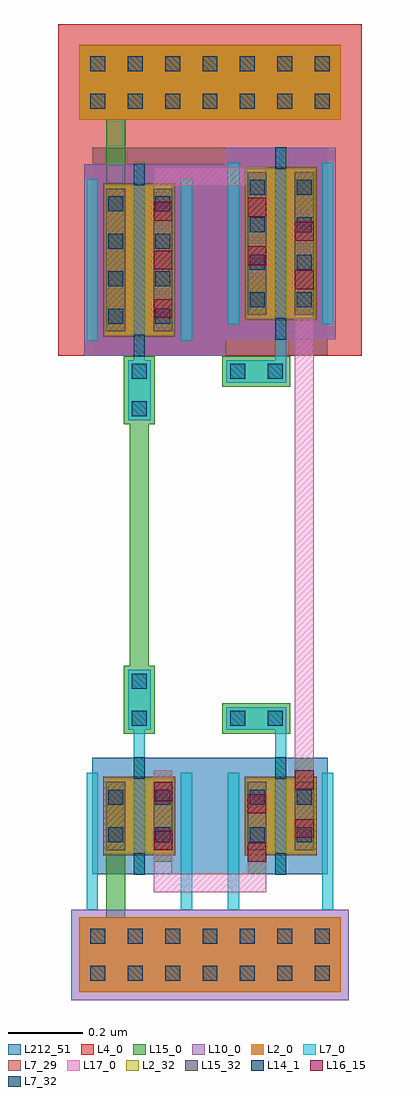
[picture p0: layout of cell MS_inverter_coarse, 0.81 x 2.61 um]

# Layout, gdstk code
import gdstk
lib = gdstk.Library(unit=1e-6, precision=1e-09)
def R(c, l, rs):  # rectangles x0, y0, x1, y1
    for r in rs: c.add(gdstk.rectangle(r[:2], r[2:], *l))
def A(c, l, x, y, w, h, nx, ny, dx, dy):  # array of equal rectangles
    R(c, l, [(x+i*dx, y+j*dy, x+i*dx+w, y+j*dy+h) for i in range(nx) for j in range(ny)])
L2_0 = (2, 0)
L2_32 = (2, 32)
L4_0 = (4, 0)
L7_0 = (7, 0)
L7_29 = (7, 29)
L7_32 = (7, 32)
L10_0 = (10, 0)
L14_1 = (14, 1)
L15_0 = (15, 0)
L15_32 = (15, 32)
L16_15 = (16, 15)
L17_0 = (17, 0)
L212_51 = (212, 51)

nmos_in_nmos1_in_ms_inve = lib.new_cell('nmos_in_nmos1_in_MS_inverter_coarse')
R(nmos_in_nmos1_in_ms_inve, L2_0, [(-0.091,-0.1,0.091,0.1)])
R(nmos_in_nmos1_in_ms_inve, L2_32, [(-0.091,-0.1,-0.015,0.1), (0.015,-0.1,0.091,0.1)])
R(nmos_in_nmos1_in_ms_inve, L7_0, [(-0.015,-0.157,0.015,0.157), (-0.141,-0.116,-0.111,0.116), (0.111,-0.116,0.141,0.116)])
R(nmos_in_nmos1_in_ms_inve, L7_29, [(-0.096,-0.105,0.096,0.105)])
R(nmos_in_nmos1_in_ms_inve, L7_32, [(-0.015,-0.157,0.015,-0.1), (-0.015,0.1,0.015,0.157)])
R(nmos_in_nmos1_in_ms_inve, L14_1, [(-0.083,-0.07,-0.043,-0.03), (0.043,-0.07,0.083,-0.03), (-0.083,0.03,-0.043,0.07), (0.043,0.03,0.083,0.07)])
R(nmos_in_nmos1_in_ms_inve, L15_0, [(-0.088,-0.091,-0.038,0.091), (0.038,-0.091,0.088,0.091)])
R(nmos_in_nmos1_in_ms_inve, L15_32, [(-0.088,-0.091,-0.038,0.091), (0.038,-0.091,0.088,0.091)])
R(nmos_in_nmos1_in_ms_inve, L212_51, [(-0.126,-0.156,0.126,0.156)])

nmos_gate_via_in_nmos1_i = lib.new_cell('nmos_gate_via_in_nmos1_in_MS_inverter_coarse')
R(nmos_gate_via_in_nmos1_i, L7_0, [(-0.03,-0.08,0.03,0.08)])
R(nmos_gate_via_in_nmos1_i, L14_1, [(-0.02,-0.07,0.02,-0.03), (-0.02,0.03,0.02,0.07)])
R(nmos_gate_via_in_nmos1_i, L15_0, [(-0.041,-0.091,0.041,0.091)])

nmos1_in_ms_inverter_coa = lib.new_cell('nmos1_in_MS_inverter_coarse')
nmos1_in_ms_inverter_coa.add(gdstk.FlexPath([(-0.015,0.311),(0.015,0.311)], 0.16, ends="flush", simple_path=True, layer=7, datatype=0))  # L7_0
nmos1_in_ms_inverter_coa.add(gdstk.FlexPath([(0,0),(0,0.311)], 0.03, ends="flush", simple_path=True, layer=7, datatype=0))  # L7_0
nmos1_in_ms_inverter_coa.add(gdstk.Reference(nmos_in_nmos1_in_ms_inve, (0,0)))
nmos1_in_ms_inverter_coa.add(gdstk.Reference(nmos_gate_via_in_nmos1_i, (0,0.311)))

nmos_in_nmos2_in_ms_inve = lib.new_cell('nmos_in_nmos2_in_MS_inverter_coarse')
R(nmos_in_nmos2_in_ms_inve, L2_0, [(-0.091,-0.1,0.091,0.1)])
R(nmos_in_nmos2_in_ms_inve, L2_32, [(-0.091,-0.1,-0.015,0.1), (0.015,-0.1,0.091,0.1)])
R(nmos_in_nmos2_in_ms_inve, L7_0, [(-0.015,-0.157,0.015,0.157), (-0.141,-0.116,-0.111,0.116), (0.111,-0.116,0.141,0.116)])
R(nmos_in_nmos2_in_ms_inve, L7_29, [(-0.096,-0.105,0.096,0.105)])
R(nmos_in_nmos2_in_ms_inve, L7_32, [(-0.015,-0.157,0.015,-0.1), (-0.015,0.1,0.015,0.157)])
R(nmos_in_nmos2_in_ms_inve, L14_1, [(-0.083,-0.07,-0.043,-0.03), (0.043,-0.07,0.083,-0.03), (-0.083,0.03,-0.043,0.07), (0.043,0.03,0.083,0.07)])
R(nmos_in_nmos2_in_ms_inve, L15_0, [(-0.088,-0.091,-0.038,0.091), (0.038,-0.091,0.088,0.091)])
R(nmos_in_nmos2_in_ms_inve, L15_32, [(-0.088,-0.091,-0.038,0.091), (0.038,-0.091,0.088,0.091)])
R(nmos_in_nmos2_in_ms_inve, L212_51, [(-0.126,-0.156,0.126,0.156)])

nmos_gate_via_in_nmos2_i = lib.new_cell('nmos_gate_via_in_nmos2_in_MS_inverter_coarse')
R(nmos_gate_via_in_nmos2_i, L7_0, [(-0.08,-0.03,0.08,0.03)])
R(nmos_gate_via_in_nmos2_i, L14_1, [(-0.07,-0.02,-0.03,0.02), (0.03,-0.02,0.07,0.02)])
R(nmos_gate_via_in_nmos2_i, L15_0, [(-0.091,-0.041,0.091,0.041)])

nmos2_in_ms_inverter_coa = lib.new_cell('nmos2_in_MS_inverter_coarse')
nmos2_in_ms_inverter_coa.add(gdstk.FlexPath([(-0.015,0.261),(0.015,0.261)], 0.06, ends="flush", simple_path=True, layer=7, datatype=0))  # L7_0
nmos2_in_ms_inverter_coa.add(gdstk.FlexPath([(0,0),(0,0.261)], 0.03, ends="flush", simple_path=True, layer=7, datatype=0))  # L7_0
nmos2_in_ms_inverter_coa.add(gdstk.Reference(nmos_in_nmos2_in_ms_inve, (0,0)))
nmos2_in_ms_inverter_coa.add(gdstk.Reference(nmos_gate_via_in_nmos2_i, (-0.065,0.261)))

pmos_in_pmos1_in_ms_inve = lib.new_cell('pmos_in_pmos1_in_MS_inverter_coarse')
R(pmos_in_pmos1_in_ms_inve, L2_0, [(-0.091,-0.2,0.091,0.2)])
R(pmos_in_pmos1_in_ms_inve, L2_32, [(-0.091,-0.2,-0.015,0.2), (0.015,-0.2,0.091,0.2)])
R(pmos_in_pmos1_in_ms_inve, L7_0, [(-0.015,-0.257,0.015,0.257), (-0.141,-0.216,-0.111,0.216), (0.111,-0.216,0.141,0.216)])
R(pmos_in_pmos1_in_ms_inve, L7_29, [(-0.096,-0.205,0.096,0.205)])
R(pmos_in_pmos1_in_ms_inve, L7_32, [(-0.015,-0.257,0.015,-0.2), (-0.015,0.2,0.015,0.257)])
R(pmos_in_pmos1_in_ms_inve, L10_0, [(-0.147,-0.256,0.147,0.256)])
A(pmos_in_pmos1_in_ms_inve, L14_1, -0.083, -0.17, 0.04, 0.04, 1, 4, 0, 0.1)
A(pmos_in_pmos1_in_ms_inve, L14_1, 0.043, -0.17, 0.04, 0.04, 1, 4, 0, 0.1)
R(pmos_in_pmos1_in_ms_inve, L15_0, [(-0.088,-0.191,-0.038,0.191), (0.038,-0.191,0.088,0.191)])
R(pmos_in_pmos1_in_ms_inve, L15_32, [(-0.088,-0.191,-0.038,0.191), (0.038,-0.191,0.088,0.191)])
R(pmos_in_pmos1_in_ms_inve, L212_51, [(-0.126,-0.256,0.126,0.256)])

pmos_gate_via_in_pmos1_i = lib.new_cell('pmos_gate_via_in_pmos1_in_MS_inverter_coarse')
R(pmos_gate_via_in_pmos1_i, L7_0, [(-0.03,-0.08,0.03,0.08)])
R(pmos_gate_via_in_pmos1_i, L14_1, [(-0.02,-0.07,0.02,-0.03), (-0.02,0.03,0.02,0.07)])
R(pmos_gate_via_in_pmos1_i, L15_0, [(-0.041,-0.091,0.041,0.091)])

pmos1_in_ms_inverter_coa = lib.new_cell('pmos1_in_MS_inverter_coarse')
pmos1_in_ms_inverter_coa.add(gdstk.FlexPath([(-0.015,-0.348),(0.015,-0.348)], 0.16, ends="flush", simple_path=True, layer=7, datatype=0))  # L7_0
pmos1_in_ms_inverter_coa.add(gdstk.FlexPath([(0,0),(0,-0.348)], 0.03, ends="flush", simple_path=True, layer=7, datatype=0))  # L7_0
pmos1_in_ms_inverter_coa.add(gdstk.Reference(pmos_in_pmos1_in_ms_inve, (0,0)))
pmos1_in_ms_inverter_coa.add(gdstk.Reference(pmos_gate_via_in_pmos1_i, (0,-0.348)))

pmos_in_pmos2_in_ms_inve = lib.new_cell('pmos_in_pmos2_in_MS_inverter_coarse')
R(pmos_in_pmos2_in_ms_inve, L2_0, [(-0.091,-0.2,0.091,0.2)])
R(pmos_in_pmos2_in_ms_inve, L2_32, [(-0.091,-0.2,-0.015,0.2), (0.015,-0.2,0.091,0.2)])
R(pmos_in_pmos2_in_ms_inve, L7_0, [(-0.015,-0.257,0.015,0.257), (-0.141,-0.216,-0.111,0.216), (0.111,-0.216,0.141,0.216)])
R(pmos_in_pmos2_in_ms_inve, L7_29, [(-0.096,-0.205,0.096,0.205)])
R(pmos_in_pmos2_in_ms_inve, L7_32, [(-0.015,-0.257,0.015,-0.2), (-0.015,0.2,0.015,0.257)])
R(pmos_in_pmos2_in_ms_inve, L10_0, [(-0.147,-0.256,0.147,0.256)])
A(pmos_in_pmos2_in_ms_inve, L14_1, -0.083, -0.17, 0.04, 0.04, 1, 4, 0, 0.1)
A(pmos_in_pmos2_in_ms_inve, L14_1, 0.043, -0.17, 0.04, 0.04, 1, 4, 0, 0.1)
R(pmos_in_pmos2_in_ms_inve, L15_0, [(-0.088,-0.191,-0.038,0.191), (0.038,-0.191,0.088,0.191)])
R(pmos_in_pmos2_in_ms_inve, L15_32, [(-0.088,-0.191,-0.038,0.191), (0.038,-0.191,0.088,0.191)])
R(pmos_in_pmos2_in_ms_inve, L212_51, [(-0.126,-0.256,0.126,0.256)])

pmos_gate_via_in_pmos2_i = lib.new_cell('pmos_gate_via_in_pmos2_in_MS_inverter_coarse')
R(pmos_gate_via_in_pmos2_i, L7_0, [(-0.08,-0.03,0.08,0.03)])
R(pmos_gate_via_in_pmos2_i, L14_1, [(-0.07,-0.02,-0.03,0.02), (0.03,-0.02,0.07,0.02)])
R(pmos_gate_via_in_pmos2_i, L15_0, [(-0.091,-0.041,0.091,0.041)])

pmos2_in_ms_inverter_coa = lib.new_cell('pmos2_in_MS_inverter_coarse')
pmos2_in_ms_inverter_coa.add(gdstk.FlexPath([(-0.015,-0.298),(0.015,-0.298)], 0.06, ends="flush", simple_path=True, layer=7, datatype=0))  # L7_0
pmos2_in_ms_inverter_coa.add(gdstk.FlexPath([(0,0),(0,-0.298)], 0.03, ends="flush", simple_path=True, layer=7, datatype=0))  # L7_0
pmos2_in_ms_inverter_coa.add(gdstk.Reference(pmos_in_pmos2_in_ms_inve, (0,0)))
pmos2_in_ms_inverter_coa.add(gdstk.Reference(pmos_gate_via_in_pmos2_i, (-0.065,-0.342)))

pmos1_output_via_in_ms_i = lib.new_cell('pmos1_output_via_in_MS_inverter_coarse')
R(pmos1_output_via_in_ms_i, L15_0, [(-0.025,-0.187,0.025,0.187)])
A(pmos1_output_via_in_ms_i, L16_15, -0.025, -0.155, 0.05, 0.05, 1, 3, 0, 0.13)
R(pmos1_output_via_in_ms_i, L17_0, [(-0.025,-0.187,0.025,0.187)])

pmos2_output_via_in_ms_i = lib.new_cell('pmos2_output_via_in_MS_inverter_coarse')
R(pmos2_output_via_in_ms_i, L15_0, [(-0.025,-0.122,0.025,0.122)])
R(pmos2_output_via_in_ms_i, L16_15, [(-0.025,-0.09,0.025,-0.04), (-0.025,0.04,0.025,0.09)])
R(pmos2_output_via_in_ms_i, L17_0, [(-0.025,-0.122,0.025,0.122)])

nmos2_output_via_in_ms_i = lib.new_cell('nmos2_output_via_in_MS_inverter_coarse')
R(nmos2_output_via_in_ms_i, L15_0, [(-0.025,-0.122,0.025,0.122)])
R(nmos2_output_via_in_ms_i, L16_15, [(-0.025,-0.09,0.025,-0.04), (-0.025,0.04,0.025,0.09)])
R(nmos2_output_via_in_ms_i, L17_0, [(-0.025,-0.122,0.025,0.122)])

nmos1_output_via_in_ms_i = lib.new_cell('nmos1_output_via_in_MS_inverter_coarse')
R(nmos1_output_via_in_ms_i, L15_0, [(-0.025,-0.122,0.025,0.122)])
R(nmos1_output_via_in_ms_i, L16_15, [(-0.025,-0.09,0.025,-0.04), (-0.025,0.04,0.025,0.09)])
R(nmos1_output_via_in_ms_i, L17_0, [(-0.025,-0.122,0.025,0.122)])

pmos2_supply_via_in_ms_i = lib.new_cell('pmos2_supply_via_in_MS_inverter_coarse')
R(pmos2_supply_via_in_ms_i, L15_0, [(-0.025,-0.122,0.025,0.122)])
R(pmos2_supply_via_in_ms_i, L16_15, [(-0.025,-0.09,0.025,-0.04), (-0.025,0.04,0.025,0.09)])
R(pmos2_supply_via_in_ms_i, L17_0, [(-0.025,-0.122,0.025,0.122)])

nmos2_supply_via_in_ms_i = lib.new_cell('nmos2_supply_via_in_MS_inverter_coarse')
R(nmos2_supply_via_in_ms_i, L15_0, [(-0.025,-0.122,0.025,0.122)])
R(nmos2_supply_via_in_ms_i, L16_15, [(-0.025,-0.09,0.025,-0.04), (-0.025,0.04,0.025,0.09)])
R(nmos2_supply_via_in_ms_i, L17_0, [(-0.025,-0.122,0.025,0.122)])

vss_in_ms_inverter_coars = lib.new_cell('vss_in_MS_inverter_coarse')
R(vss_in_ms_inverter_coars, L2_0, [(-0.35,-0.1,0.35,0.1)])
R(vss_in_ms_inverter_coars, L10_0, [(-0.371,-0.121,0.371,0.121)])
A(vss_in_ms_inverter_coars, L14_1, -0.32, -0.07, 0.04, 0.04, 7, 2, 0.1, 0.1)
R(vss_in_ms_inverter_coars, L15_0, [(-0.35,-0.1,0.35,0.1)])

vdd_in_ms_inverter_coars = lib.new_cell('vdd_in_MS_inverter_coarse')
R(vdd_in_ms_inverter_coars, L2_0, [(-0.35,-0.1,0.35,0.1)])
A(vdd_in_ms_inverter_coars, L14_1, -0.32, -0.07, 0.04, 0.04, 7, 2, 0.1, 0.1)
R(vdd_in_ms_inverter_coars, L15_0, [(-0.35,-0.1,0.35,0.1)])

ms_inverter_coarse = lib.new_cell('MS_inverter_coarse')
R(ms_inverter_coarse, L4_0, [(-0.406,0.506,0.406,1.393)])
R(ms_inverter_coarse, L212_51, [(-0.315,-0.881,0.315,-0.569), (-0.315,0.506,0.315,1.062)])
ms_inverter_coarse.add(gdstk.FlexPath([(-0.189,-0.414),(-0.189,0.414)], 0.05, ends="flush", simple_path=True, layer=15, datatype=0))  # L15_0
ms_inverter_coarse.add(gdstk.FlexPath([(0.227,0.627),(0.277,0.627)], 0.05, ends="flush", simple_path=True, layer=17, datatype=0))  # L17_0
ms_inverter_coarse.add(gdstk.FlexPath([(0.227,-0.546),(0.277,-0.546)], 0.05, ends="flush", simple_path=True, layer=17, datatype=0))  # L17_0
ms_inverter_coarse.add(gdstk.FlexPath([(0.101,0.985),(0.151,0.985)], 0.05, ends="flush", simple_path=True, layer=17, datatype=0))  # L17_0
ms_inverter_coarse.add(gdstk.FlexPath([(0.101,-0.904),(0.151,-0.904)], 0.05, ends="flush", simple_path=True, layer=17, datatype=0))  # L17_0
ms_inverter_coarse.add(gdstk.FlexPath([(0.252,0.627),(0.252,-0.546)], 0.05, ends="flush", simple_path=True, layer=17, datatype=0))  # L17_0
ms_inverter_coarse.add(gdstk.FlexPath([(0.126,-0.904),(-0.151,-0.904)], 0.05, ends="flush", simple_path=True, layer=17, datatype=0))  # L17_0
ms_inverter_coarse.add(gdstk.FlexPath([(-0.126,-0.725),(-0.126,-0.904)], 0.05, ends="flush", simple_path=True, layer=17, datatype=0))  # L17_0
ms_inverter_coarse.add(gdstk.FlexPath([(0.126,0.985),(-0.151,0.985)], 0.05, ends="flush", simple_path=True, layer=17, datatype=0))  # L17_0
ms_inverter_coarse.add(gdstk.FlexPath([(-0.126,0.762),(-0.126,0.985)], 0.05, ends="flush", simple_path=True, layer=17, datatype=0))  # L17_0
ms_inverter_coarse.add(gdstk.FlexPath([(-0.042,0.762),(0.042,0.762)], 0.512, ends="flush", simple_path=True, layer=10, datatype=0))  # L10_0
ms_inverter_coarse.add(gdstk.FlexPath([(-0.315,-0.609),(-0.315,-0.976)], 0.03, ends="flush", simple_path=True, layer=7, datatype=0))  # L7_0
ms_inverter_coarse.add(gdstk.FlexPath([(-0.063,-0.609),(-0.063,-0.976)], 0.03, ends="flush", simple_path=True, layer=7, datatype=0))  # L7_0
ms_inverter_coarse.add(gdstk.FlexPath([(0.063,-0.609),(0.063,-0.976)], 0.03, ends="flush", simple_path=True, layer=7, datatype=0))  # L7_0
ms_inverter_coarse.add(gdstk.FlexPath([(0.315,-0.609),(0.315,-0.976)], 0.03, ends="flush", simple_path=True, layer=7, datatype=0))  # L7_0
ms_inverter_coarse.add(gdstk.FlexPath([(-0.252,-0.725),(-0.252,-1.096)], 0.05, ends="flush", simple_path=True, layer=15, datatype=0))  # L15_0
ms_inverter_coarse.add(gdstk.FlexPath([(-0.252,0.762),(-0.252,1.237)], 0.05, ends="flush", simple_path=True, layer=15, datatype=0))  # L15_0
ms_inverter_coarse.add(gdstk.Reference(nmos1_in_ms_inverter_coa, (-0.189,-0.725)))
ms_inverter_coarse.add(gdstk.Reference(nmos2_in_ms_inverter_coa, (0.189,-0.725)))
ms_inverter_coarse.add(gdstk.Reference(pmos1_in_ms_inverter_coa, (-0.189,0.762)))
ms_inverter_coarse.add(gdstk.Reference(pmos2_in_ms_inverter_coa, (0.189,0.806)))
ms_inverter_coarse.add(gdstk.Reference(pmos1_output_via_in_ms_i, (-0.126,0.762)))
ms_inverter_coarse.add(gdstk.Reference(pmos2_output_via_in_ms_i, (0.252,0.774)))
ms_inverter_coarse.add(gdstk.Reference(nmos2_output_via_in_ms_i, (0.252,-0.693)))
ms_inverter_coarse.add(gdstk.Reference(nmos1_output_via_in_ms_i, (-0.126,-0.725)))
ms_inverter_coarse.add(gdstk.Reference(pmos2_supply_via_in_ms_i, (0.126,0.838)))
ms_inverter_coarse.add(gdstk.Reference(nmos2_supply_via_in_ms_i, (0.126,-0.757)))
ms_inverter_coarse.add(gdstk.Reference(vss_in_ms_inverter_coars, (0,-1.096)))
ms_inverter_coarse.add(gdstk.Reference(vdd_in_ms_inverter_coars, (0,1.237)))

lib.write_gds('MS_inverter_coarse.gds')
